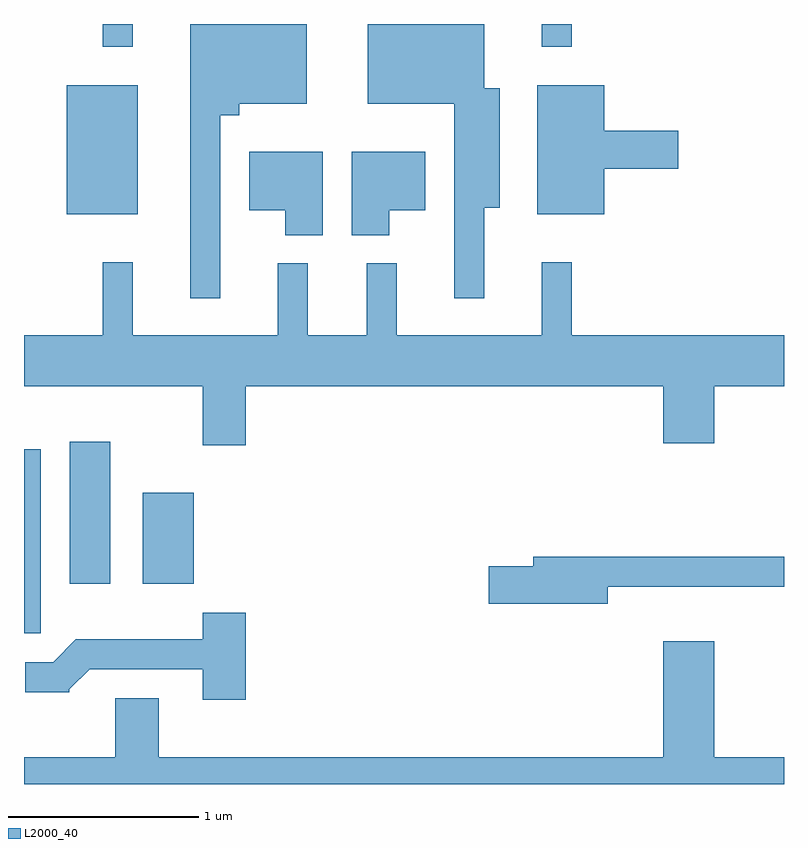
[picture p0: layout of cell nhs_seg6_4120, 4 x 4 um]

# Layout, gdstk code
import gdstk
lib = gdstk.Library(unit=1e-6, precision=1e-09)
def R(c, l, rs):  # rectangles x0, y0, x1, y1
    for r in rs: c.add(gdstk.rectangle(r[:2], r[2:], *l))
def P(c, l, *ps):  # polygons
    for p in ps: c.add(gdstk.Polygon(p, *l))
L2000_40 = (2000, 40)

nhs_seg6_4120 = lib.new_cell('nhs_seg6_4120')
R(nhs_seg6_4120, L2000_40, [(311.611,1550.956,311.699,1551.924), (311.851,1551.216,312.064,1551.964), (312.236,1551.216,312.504,1551.694), (311.836,1553.161,312.209,1553.839), (312.026,1554.043,312.184,1554.162), (314.336,1554.043,314.494,1554.162)])
P(nhs_seg6_4120, L2000_40, [(312.644,1553.681),(312.744,1553.681),(312.744,1553.741),(313.099,1553.741),(313.099,1554.162),(312.486,1554.162),(312.486,1552.718),(312.644,1552.718)],
  [(314.034,1553.196),(314.114,1553.196),(314.114,1553.824),(314.034,1553.824),(314.034,1554.162),(313.421,1554.162),(313.421,1553.741),(313.876,1553.741),(313.876,1552.718),(314.034,1552.718)],
  [(314.664,1553.401),(315.054,1553.401),(315.054,1553.599),(314.664,1553.599),(314.664,1553.839),(314.311,1553.839),(314.311,1553.161),(314.664,1553.161)],
  [(313.184,1553.489),(312.796,1553.489),(312.796,1553.181),(312.986,1553.181),(312.986,1553.051),(313.184,1553.051)],
  [(313.534,1553.181),(313.724,1553.181),(313.724,1553.489),(313.336,1553.489),(313.336,1553.051),(313.534,1553.051)],
  [(312.779,1552.256),(314.976,1552.256),(314.976,1551.956),(315.244,1551.956),(315.244,1552.256),(315.611,1552.256),(315.611,1552.524),(314.494,1552.524),(314.494,1552.908),(314.336,1552.908),(314.336,1552.524),(313.574,1552.524),(313.574,1552.903),(313.416,1552.903),(313.416,1552.524),(313.104,1552.524),(313.104,1552.903),(312.946,1552.903),(312.946,1552.524),(312.184,1552.524),(312.184,1552.908),(312.026,1552.908),(312.026,1552.524),(311.611,1552.524),(311.611,1552.256),(312.551,1552.256),(312.551,1551.946),(312.779,1551.946)],
  [(314.684,1551.201),(315.611,1551.201),(315.611,1551.359),(314.291,1551.359),(314.291,1551.309),(314.056,1551.309),(314.056,1551.111),(314.684,1551.111)],
  [(312.779,1551.064),(312.551,1551.064),(312.551,1550.924),(311.884,1550.924),(311.764,1550.804),(311.618,1550.804),(311.618,1550.646),(311.85,1550.646),(311.85,1550.66),(311.957,1550.766),(312.551,1550.766),(312.551,1550.606),(312.779,1550.606)],
  [(315.611,1550.304),(315.244,1550.304),(315.244,1550.914),(314.976,1550.914),(314.976,1550.304),(312.319,1550.304),(312.319,1550.614),(312.091,1550.614),(312.091,1550.304),(311.611,1550.304),(311.611,1550.162),(315.611,1550.162)])

lib.write_gds('nhs_seg6_4120.gds')
